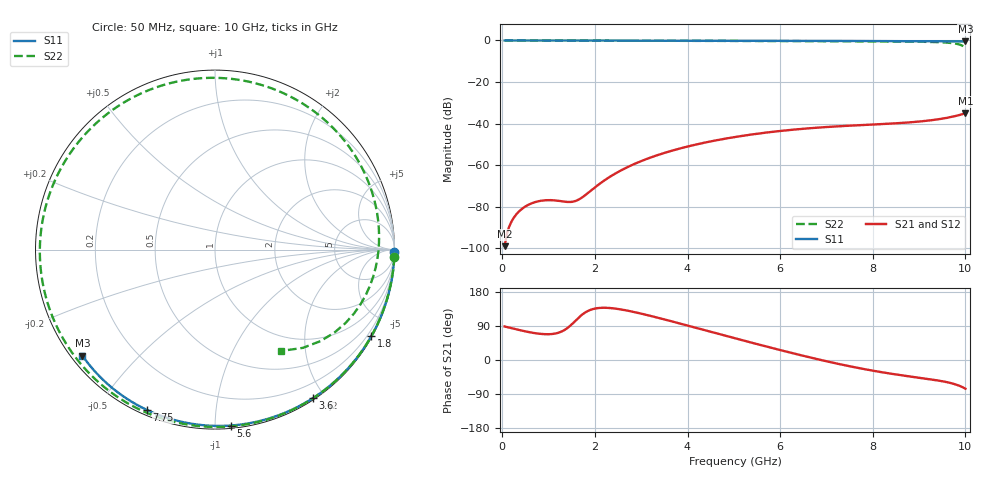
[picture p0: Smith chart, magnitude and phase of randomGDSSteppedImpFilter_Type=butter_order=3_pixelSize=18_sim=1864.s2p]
! freq	dB(S11)	phase(S11)	dB(S12)	phase(S12)
!  dB(S21)	phase(S21)	dB(S22)	phase(S22)
!S-par simulation data
#  GHz  S  DB  R 50
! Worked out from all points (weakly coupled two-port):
!   200 points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, 50 MHz to 10 GHz, reference 50 ohm
!   highest |S21| = -35.04 dB at 10 GHz (marker M1); lowest = -99.1 dB at 50 MHz (marker M2)
!   lowest |S11| = -0.5 dB at 10 GHz (marker M3), VSWR 36.11, Z = 1.55 - j17.5 ohm
!   |S11| at or under -10 dB: nowhere
!   |S22| runs from -3.4 to 0.0 dB; largest |S21 - S12| = 0
!   S11 on the Smith chart (normalised r, x): 50 MHz: open; 1.8 GHz: 0.03, -3.87; 3.6 GHz: 0.02, -1.86; 5.6 GHz: 0.02, -1.09; 7.75 GHz: 0.02, -0.66; 10 GHz: 0.03, -0.35
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0.05  -0.00 -0.8  -99.08 88.5  -99.08 88.5  -0.00 -2.3
0.5  -0.01 -8.2  -79.95 75.5  -79.95 75.5  -0.03 -22.9
0.95  -0.02 -15.4  -76.94 68.0  -76.94 68.0  -0.05 -43.0
1.5  -0.03 -24.2  -77.73 94.1  -77.73 94.1  -0.08 -66.6
1.75  -0.04 -28.2  -75.20 122.0  -75.20 122.0  -0.09 -76.8
1.8  -0.04 -29.0  -74.36 126.1  -74.36 126.1  -0.09 -78.8
2.5  -0.05 -39.9  -63.35 134.6  -63.35 134.6  -0.12 -105.8
3.4  -0.07 -53.5  -54.88 110.3  -54.88 110.3  -0.15 -137.6
3.6  -0.08 -56.5  -53.50 103.9  -53.50 103.9  -0.16 -144.3
4.35  -0.10 -67.5  -49.31 79.4  -49.31 79.4  -0.19 -169.0
5.05  -0.12 -77.4  -46.42 56.5  -46.42 56.5  -0.23 168.2
5.6  -0.14 -84.9  -44.65 38.8  -44.65 38.8  -0.26 150.1
6.7  -0.19 -99.6  -42.17 5.2  -42.17 5.2  -0.34 112.1
7.25  -0.23 -106.7  -41.36 -10.1  -41.36 -10.1  -0.38 91.9
7.75  -0.26 -113.1  -40.77 -22.5  -40.77 -22.5  -0.42 72.6
8.35  -0.31 -120.6  -40.09 -35.3  -40.09 -35.3  -0.49 48.2
8.95  -0.36 -128.2  -39.16 -46.0  -39.16 -46.0  -0.60 22.0
9.45  -0.42 -134.4  -37.84 -54.9  -37.84 -54.9  -0.86 -3.5
9.65  -0.44 -136.9  -37.05 -59.8  -37.05 -59.8  -1.13 -16.6
9.8  -0.46 -138.8  -36.31 -65.0  -36.31 -65.0  -1.57 -29.4
9.9  -0.47 -140.1  -35.72 -69.6  -35.72 -69.6  -2.18 -40.9
10  -0.48 -141.4  -35.04 -75.8  -35.04 -75.8  -3.44 -57.0
